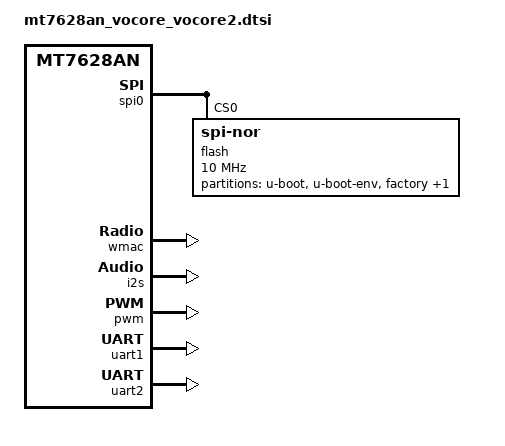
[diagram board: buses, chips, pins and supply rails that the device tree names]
#include "mt7628an.dtsi"

#include <dt-bindings/gpio/gpio.h>

/ {
	compatible = "vocore,vocore2", "mediatek,mt7628an-soc";

	aliases {
		label-mac-device = &wmac;
	};

	chosen {
		bootargs = "console=ttyS2,115200";
	};
};

&spi0 {
	status = "okay";

	flash@0 {
		compatible = "jedec,spi-nor";
		reg = <0>;
		spi-max-frequency = <10000000>;

		partitions {
			compatible = "fixed-partitions";
			#address-cells = <1>;
			#size-cells = <1>;

			partition@0 {
				label = "u-boot";
				reg = <0x0 0x30000>;
				read-only;
			};

			partition@30000 {
				label = "u-boot-env";
				reg = <0x30000 0x10000>;
				read-only;
			};

			factory: partition@40000 {
				label = "factory";
				reg = <0x40000 0x10000>;
				read-only;
			};

			firmware: partition@50000 {
				compatible = "denx,uimage";
				label = "firmware";
				/* reg property is set based on flash size in DTS files */
			};
		};
	};
};

&state_default {
	gpio {
		groups = "wled_an", "refclk", "wdt";
		function = "gpio";
	};
};

&wmac {
	status = "okay";

	mediatek,mtd-eeprom = <&factory 0x0>;
};

&ethernet {
	nvmem-cells = <&macaddr_factory_28>;
	nvmem-cell-names = "mac-address";
};

&esw {
	mediatek,portmap = <0x7>;
	mediatek,portdisable = <0x3a>;
};

&i2s {
	status = "okay";
};

&gdma {
	status = "okay";
};

&pwm {
	status = "okay";
};

&uart1 {
	status = "okay";
};

&uart2 {
	status = "okay";
};

&factory {
	compatible = "nvmem-cells";
	#address-cells = <1>;
	#size-cells = <1>;

	macaddr_factory_28: macaddr@28 {
		reg = <0x28 0x6>;
	};
};
